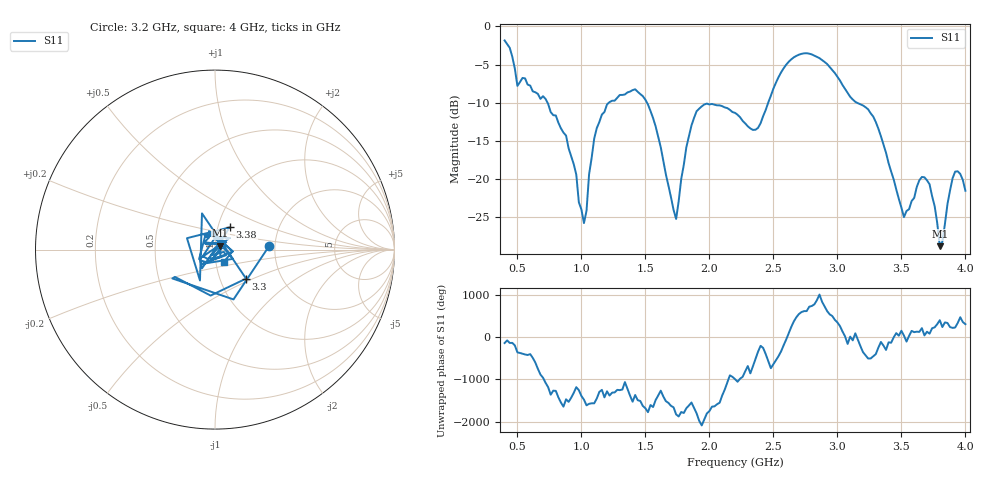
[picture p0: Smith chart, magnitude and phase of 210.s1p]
!Created with skrf (http://scikit-rf.org).
# Hz S RI R 50.0
!freq ReS11 ImS11
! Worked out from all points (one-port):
!   181 points, 400 MHz to 4 GHz, reference 50 ohm
!   lowest |S11| = -28.8 dB at 3.8 GHz (marker M1), VSWR 1.08, Z = 52.9 + j2.37 ohm
!   |S11| at or under -10 dB: 735.9 MHz to 1.213 GHz (477.3 MHz wide, 49 % of centre); 1.513 GHz to 2.459 GHz (945.7 MHz wide, 47.6 % of centre); 3.155 GHz to end of sweep
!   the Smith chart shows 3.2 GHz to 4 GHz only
!   S11 on the Smith chart (normalised r, x): 3.2 GHz: 1.87, +0.09; 3.3 GHz: 1.33, -0.46; 3.38 GHz: 1.14, +0.29; 4 GHz: 1.09, -0.15
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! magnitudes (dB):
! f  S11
! 400 MHz  -1.8
! 500 MHz  -7.8
! 700 MHz  -9.1
! 860 MHz  -13.9
! 960 MHz  -19.4
! 1.02 GHz  -25.7
! 1.12 GHz  -13.3
! 1.3 GHz  -9.0
! 1.5 GHz  -9.6
! 1.74 GHz  -25.2
! 1.76 GHz  -22.9
! 1.82 GHz  -15.8
! 1.9 GHz  -11.1
! 2.2 GHz  -11.3
! 2.38 GHz  -13.3
! 2.66 GHz  -4.0
! 2.86 GHz  -4.1
! 3.1 GHz  -9.2
! 3.2 GHz  -10.3
! 3.3 GHz  -12.5
! 3.38 GHz  -16.5
! 3.52 GHz  -25.0
! 3.56 GHz  -23.9
! 3.7 GHz  -20.1
! 3.76 GHz  -23.5
! 3.8 GHz  -28.8
! 3.92 GHz  -19.0
! 4 GHz  -21.5
